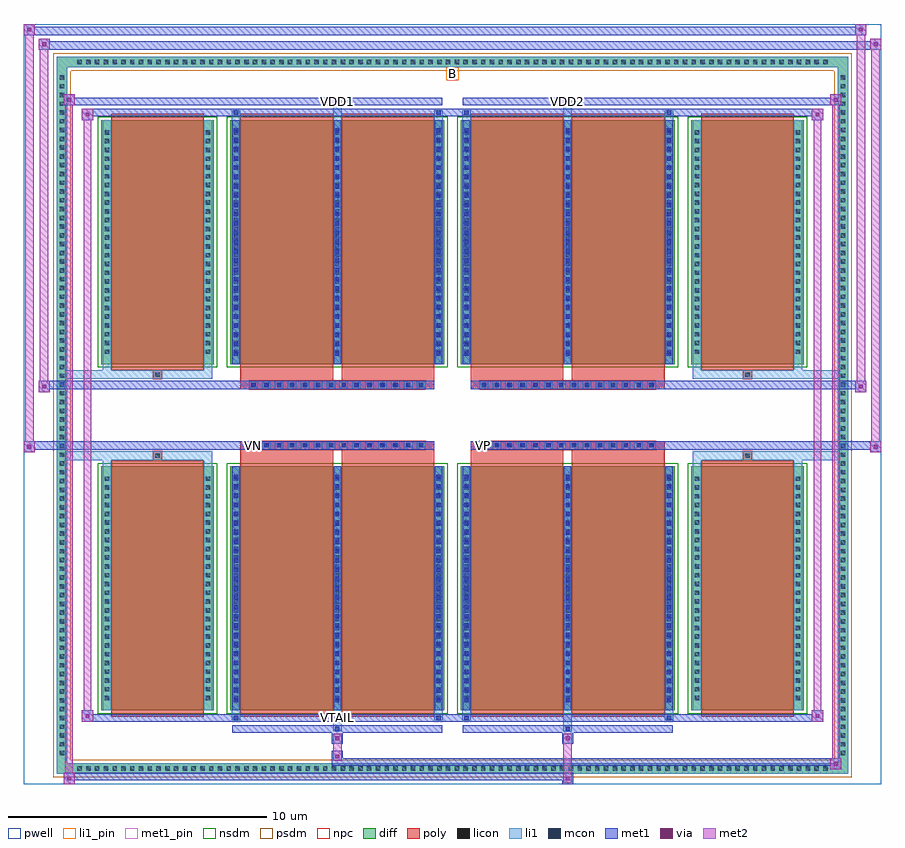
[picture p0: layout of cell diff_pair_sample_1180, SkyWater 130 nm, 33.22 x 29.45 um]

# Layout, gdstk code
import gdstk
lib = gdstk.Library(unit=1e-6, precision=5e-09)
def R(c, l, rs):  # rectangles x0, y0, x1, y1
    for r in rs: c.add(gdstk.rectangle(r[:2], r[2:], *l))
def A(c, l, x, y, w, h, nx, ny, dx, dy):  # array of equal rectangles
    R(c, l, [(x+i*dx, y+j*dy, x+i*dx+w, y+j*dy+h) for i in range(nx) for j in range(ny)])
def P(c, l, *ps):  # polygons
    for p in ps: c.add(gdstk.Polygon(p, *l))
pwell = (64, 44)
diff = (65, 20)
poly = (66, 20)
licon = (66, 44)
li1_pin = (67, 16)
li1 = (67, 20)
mcon = (67, 44)
met1_pin = (68, 16)
met1 = (68, 20)
via = (68, 44)
met2 = (69, 20)
nsdm = (93, 44)
psdm = (94, 20)
npc = (95, 20)

diff_pair_sample_1180 = lib.new_cell('diff_pair_sample_1180')
R(diff_pair_sample_1180, pwell, [(-16.61,-14.29,16.61,15.16), (-13.93,-12.48,-0.01,-0.8), (0.01,-12.48,13.93,-0.8), (-13.93,0.8,-0.01,12.48), (0.01,0.8,13.93,12.48)])
A(diff_pair_sample_1180, diff, -14.655, -13.89, 0.41, 0.41, 86, 2, 0.34, 27.37)
A(diff_pair_sample_1180, diff, -15.34, -13.295, 0.41, 0.41, 1, 78, 0, 0.34)
A(diff_pair_sample_1180, diff, 14.93, -13.295, 0.41, 0.41, 1, 78, 0, 0.34)
R(diff_pair_sample_1180, diff, [(-14.655,-13.89,14.655,-13.48), (-15.34,-13.295,-14.93,13.295), (14.93,-13.295,15.34,13.295), (-13.62,-11.435,-9.25,-1.985), (-8.61,-11.435,-0.32,-1.985), (0.32,-11.435,8.61,-1.985), (9.25,-11.435,13.62,-1.985), (-13.62,1.985,-9.25,11.435), (-8.61,1.985,-0.32,11.435), (0.32,1.985,8.61,11.435), (9.25,1.985,13.62,11.435), (-14.655,13.48,14.655,13.89)])
P(diff_pair_sample_1180, diff, [(15.34,13.89),(-15.34,13.89),(-15.34,-13.48),(-14.93,-13.48),(-14.93,13.48),(14.93,13.48),(14.93,-13.48),(-14.93,-13.48),(-15.34,-13.48),(-15.34,-13.89),(15.34,-13.89)])
A(diff_pair_sample_1180, poly, -7.88, -1.33, 0.33, 0.33, 14, 2, 0.5, 2.33)
A(diff_pair_sample_1180, poly, 1.05, -1.33, 0.33, 0.33, 14, 2, 0.5, 2.33)
R(diff_pair_sample_1180, poly, [(-13.23,-11.685,-9.64,-1.735), (-8.22,-11.685,-4.63,-1.735), (-4.3,-11.685,-0.71,-1.735), (0.71,-11.685,4.3,-1.735), (4.63,-11.685,8.22,-1.735), (9.64,-11.685,13.23,-1.735), (-11.6,-1.735,-11.27,-1.405), (-11.6,-1.735,-11.27,-1.405), (-8.22,-1.735,-4.63,-1.33), (-4.3,-1.735,-0.71,-1.33), (0.71,-1.735,4.3,-1.33), (4.63,-1.735,8.22,-1.33), (11.27,-1.735,11.6,-1.405), (11.27,-1.735,11.6,-1.405), (-8.22,-1.33,-0.71,-1), (0.71,-1.33,8.22,-1), (-8.22,1,-0.71,1.33), (0.71,1,8.22,1.33), (-8.22,1.33,-4.63,1.735), (-4.3,1.33,-0.71,1.735), (0.71,1.33,4.3,1.735), (4.63,1.33,8.22,1.735), (-11.6,1.405,-11.27,1.735), (-11.6,1.405,-11.27,1.735), (11.27,1.405,11.6,1.735), (11.27,1.405,11.6,1.735), (-13.23,1.735,-9.64,11.685), (-8.22,1.735,-4.63,11.685), (-4.3,1.735,-0.71,11.685), (0.71,1.735,4.3,11.685), (4.63,1.735,8.22,11.685), (9.64,1.735,13.23,11.685)])
A(diff_pair_sample_1180, licon, -14.535, -13.77, 0.17, 0.17, 86, 2, 0.34, 27.37)
A(diff_pair_sample_1180, licon, -15.22, -13.175, 0.17, 0.17, 1, 78, 0, 0.34)
A(diff_pair_sample_1180, licon, 15.05, -13.175, 0.17, 0.17, 1, 78, 0, 0.34)
A(diff_pair_sample_1180, licon, -13.48, -11.045, 0.17, 0.17, 1, 26, 0, 0.34)
A(diff_pair_sample_1180, licon, -9.56, -11.045, 0.17, 0.17, 1, 26, 0, 0.34)
A(diff_pair_sample_1180, licon, -8.47, -11.045, 0.17, 0.17, 3, 26, 3.92, 0.34)
A(diff_pair_sample_1180, licon, 0.46, -11.045, 0.17, 0.17, 3, 26, 3.92, 0.34)
A(diff_pair_sample_1180, licon, 9.39, -11.045, 0.17, 0.17, 1, 26, 0, 0.34)
A(diff_pair_sample_1180, licon, 13.31, -11.045, 0.17, 0.17, 1, 26, 0, 0.34)
A(diff_pair_sample_1180, licon, -7.8, -1.25, 0.17, 0.17, 14, 2, 0.5, 2.33)
A(diff_pair_sample_1180, licon, 1.13, -1.25, 0.17, 0.17, 14, 2, 0.5, 2.33)
A(diff_pair_sample_1180, licon, -13.48, 2.375, 0.17, 0.17, 1, 26, 0, 0.34)
A(diff_pair_sample_1180, licon, -9.56, 2.375, 0.17, 0.17, 1, 26, 0, 0.34)
A(diff_pair_sample_1180, licon, -8.47, 2.375, 0.17, 0.17, 3, 26, 3.92, 0.34)
A(diff_pair_sample_1180, licon, 0.46, 2.375, 0.17, 0.17, 3, 26, 3.92, 0.34)
A(diff_pair_sample_1180, licon, 9.39, 2.375, 0.17, 0.17, 1, 26, 0, 0.34)
A(diff_pair_sample_1180, licon, 13.31, 2.375, 0.17, 0.17, 1, 26, 0, 0.34)
R(diff_pair_sample_1180, licon, [(-11.52,-1.655,-11.35,-1.485), (11.35,-1.655,11.52,-1.485), (-11.52,1.485,-11.35,1.655), (11.35,1.485,11.52,1.655)])
R(diff_pair_sample_1180, li1_pin, [(-0.25,12.98,0.25,13.48)])
A(diff_pair_sample_1180, li1, -14.615, -13.85, 0.33, 0.33, 86, 2, 0.34, 27.37)
A(diff_pair_sample_1180, li1, -15.3, -13.255, 0.33, 0.33, 1, 78, 0, 0.34)
A(diff_pair_sample_1180, li1, 14.97, -13.255, 0.33, 0.33, 1, 78, 0, 0.34)
A(diff_pair_sample_1180, li1, -8.55, -11.435, 0.33, 9.45, 3, 2, 3.92, 13.42)
A(diff_pair_sample_1180, li1, 0.38, -11.435, 0.33, 9.45, 3, 2, 3.92, 13.42)
A(diff_pair_sample_1180, li1, -13.56, -11.125, 0.33, 0.33, 1, 26, 0, 0.34)
A(diff_pair_sample_1180, li1, -9.64, -11.125, 0.33, 0.33, 1, 26, 0, 0.34)
A(diff_pair_sample_1180, li1, -8.55, -11.125, 0.33, 0.33, 3, 26, 3.92, 0.34)
A(diff_pair_sample_1180, li1, 0.38, -11.125, 0.33, 0.33, 3, 26, 3.92, 0.34)
A(diff_pair_sample_1180, li1, 9.31, -11.125, 0.33, 0.33, 1, 26, 0, 0.34)
A(diff_pair_sample_1180, li1, 13.23, -11.125, 0.33, 0.33, 1, 26, 0, 0.34)
A(diff_pair_sample_1180, li1, -8.47, -11.115, 0.17, 0.17, 3, 25, 3.92, 0.36)
A(diff_pair_sample_1180, li1, -8.47, -11.115, 0.17, 8.81, 3, 2, 3.92, 13.42)
A(diff_pair_sample_1180, li1, 0.46, -11.115, 0.17, 0.17, 3, 25, 3.92, 0.36)
A(diff_pair_sample_1180, li1, 0.46, -11.115, 0.17, 8.81, 3, 2, 3.92, 13.42)
A(diff_pair_sample_1180, li1, -7.88, -1.33, 0.33, 0.33, 14, 2, 0.5, 2.33)
A(diff_pair_sample_1180, li1, 1.05, -1.33, 0.33, 0.33, 14, 2, 0.5, 2.33)
A(diff_pair_sample_1180, li1, -13.56, 2.295, 0.33, 0.33, 1, 26, 0, 0.34)
A(diff_pair_sample_1180, li1, -9.64, 2.295, 0.33, 0.33, 1, 26, 0, 0.34)
A(diff_pair_sample_1180, li1, -8.55, 2.295, 0.33, 0.33, 3, 26, 3.92, 0.34)
A(diff_pair_sample_1180, li1, 0.38, 2.295, 0.33, 0.33, 3, 26, 3.92, 0.34)
A(diff_pair_sample_1180, li1, 9.31, 2.295, 0.33, 0.33, 1, 26, 0, 0.34)
A(diff_pair_sample_1180, li1, 13.23, 2.295, 0.33, 0.33, 1, 26, 0, 0.34)
A(diff_pair_sample_1180, li1, -8.47, 2.305, 0.17, 0.17, 3, 25, 3.92, 0.36)
A(diff_pair_sample_1180, li1, 0.46, 2.305, 0.17, 0.17, 3, 25, 3.92, 0.36)
R(diff_pair_sample_1180, li1, [(-15.34,-13.89,-14.93,-13.48), (-15.34,-13.89,-14.93,-13.48), (-14.93,-13.89,14.93,-13.48), (14.93,-13.89,15.34,-13.48), (14.93,-13.89,15.34,-13.48), (-15.34,-13.48,-14.93,13.48), (14.93,-13.48,15.34,13.48), (-4.63,-12.24,-4.3,-11.435), (-4.55,-12.24,-4.38,-12.07), (4.3,-12.24,4.63,-11.435), (4.38,-12.24,4.55,-12.07), (-8.55,-11.81,-8.22,-11.435), (-8.47,-11.81,-8.3,-11.64), (-0.71,-11.81,-0.38,-11.435), (-0.63,-11.81,-0.46,-11.64), (0.38,-11.81,0.71,-11.435), (0.46,-11.81,0.63,-11.64), (8.22,-11.81,8.55,-11.435), (8.3,-11.81,8.47,-11.64), (-13.56,-11.435,-13.23,-1.985), (-9.64,-11.435,-9.31,-1.985), (9.31,-11.435,9.64,-1.985), (13.23,-11.435,13.56,-1.985), (-13.56,-1.985,-13.23,-1.405), (-9.64,-1.985,-9.31,-1.405), (9.31,-1.985,9.64,-1.405), (13.23,-1.985,13.56,-1.405), (-15.34,-1.735,-11.6,-1.405), (-13.56,-1.735,-11.6,-1.405), (-11.6,-1.735,-11.27,-1.405), (-11.27,-1.735,-9.31,-1.405), (9.31,-1.735,11.27,-1.405), (11.27,-1.735,11.6,-1.405), (11.27,-1.735,15.34,-1.405), (11.6,-1.735,13.56,-1.405), (-15.34,1.405,-11.6,1.735), (-13.56,1.405,-11.6,1.735), (-13.56,1.405,-13.23,1.985), (-11.6,1.405,-11.27,1.735), (-11.27,1.405,-9.31,1.735), (-9.64,1.405,-9.31,1.985), (9.31,1.405,11.27,1.735), (9.31,1.405,9.64,1.985), (11.27,1.405,11.6,1.735), (11.27,1.405,15.34,1.735), (11.6,1.405,13.56,1.735), (13.23,1.405,13.56,1.985), (-13.56,1.985,-13.23,11.435), (-9.64,1.985,-9.31,11.435), (9.31,1.985,9.64,11.435), (13.23,1.985,13.56,11.435), (-8.55,11.435,-8.22,11.81), (-4.63,11.435,-4.3,12.24), (-0.71,11.435,-0.38,11.81), (0.38,11.435,0.71,11.81), (4.3,11.435,4.63,12.24), (8.22,11.435,8.55,11.81), (-8.47,11.64,-8.3,11.81), (-0.63,11.64,-0.46,11.81), (0.46,11.64,0.63,11.81), (8.3,11.64,8.47,11.81), (-4.55,12.07,-4.38,12.24), (4.38,12.07,4.55,12.24), (-15.34,13.48,-14.93,13.89), (-15.34,13.48,-14.93,13.89), (-14.93,13.48,14.93,13.89), (14.93,13.48,15.34,13.89), (14.93,13.48,15.34,13.89)])
A(diff_pair_sample_1180, mcon, -8.47, -11.115, 0.17, 0.17, 3, 25, 3.92, 0.36)
A(diff_pair_sample_1180, mcon, 0.46, -11.115, 0.17, 0.17, 3, 25, 3.92, 0.36)
A(diff_pair_sample_1180, mcon, -7.8, -1.25, 0.17, 0.17, 14, 2, 0.5, 2.33)
A(diff_pair_sample_1180, mcon, 1.13, -1.25, 0.17, 0.17, 14, 2, 0.5, 2.33)
A(diff_pair_sample_1180, mcon, -8.47, 2.305, 0.17, 0.17, 3, 25, 3.92, 0.36)
A(diff_pair_sample_1180, mcon, 0.46, 2.305, 0.17, 0.17, 3, 25, 3.92, 0.36)
R(diff_pair_sample_1180, mcon, [(-4.55,-12.24,-4.38,-12.07), (4.38,-12.24,4.55,-12.07), (-8.47,-11.81,-8.3,-11.64), (-0.63,-11.81,-0.46,-11.64), (0.46,-11.81,0.63,-11.64), (8.3,-11.81,8.47,-11.64), (-8.47,11.64,-8.3,11.81), (-0.63,11.64,-0.46,11.81), (0.46,11.64,0.63,11.81), (8.3,11.64,8.47,11.81), (-4.55,12.07,-4.38,12.24), (4.38,12.07,4.55,12.24)])
R(diff_pair_sample_1180, met1_pin, [(-4.6,-11.85,-4.33,-11.58), (-7.85,-1.29,-7.58,-1.02), (1.08,-1.29,1.35,-1.02), (-4.6,12.03,-4.33,12.3), (4.33,12.03,4.6,12.3)])
A(diff_pair_sample_1180, met1, -8.53, -11.435, 0.29, 9.45, 3, 2, 3.92, 13.42)
A(diff_pair_sample_1180, met1, 0.4, -11.435, 0.29, 9.45, 3, 2, 3.92, 13.42)
A(diff_pair_sample_1180, met1, -8.53, -11.175, 0.29, 0.29, 3, 25, 3.92, 0.36)
A(diff_pair_sample_1180, met1, 0.4, -11.175, 0.29, 0.29, 3, 25, 3.92, 0.36)
A(diff_pair_sample_1180, met1, -7.86, -1.31, 0.29, 0.29, 14, 2, 0.5, 2.33)
A(diff_pair_sample_1180, met1, 1.07, -1.31, 0.29, 0.29, 14, 2, 0.5, 2.33)
A(diff_pair_sample_1180, met1, -8.53, 2.245, 0.29, 0.29, 3, 25, 3.92, 0.36)
A(diff_pair_sample_1180, met1, 0.4, 2.245, 0.29, 0.29, 3, 25, 3.92, 0.36)
R(diff_pair_sample_1180, met1, [(-15.07,-14.29,-14.64,-13.86), (4.25,-14.29,4.68,-13.86), (-15.07,-14.15,4.68,-13.86), (14.64,-13.72,15.07,-13.29), (-4.68,-13.58,15.07,-13.29), (-4.68,-13.44,-4.25,-13.01), (-4.68,-12.73,-4.25,-12.3), (4.25,-12.73,4.68,-12.3), (-8.53,-12.3,-0.4,-12.01), (-4.61,-12.3,-4.32,-12.01), (0.4,-12.3,8.53,-12.01), (4.32,-12.3,4.61,-12.01), (-14.36,-11.87,-13.93,-11.44), (-14.36,-11.87,-8.53,-11.58), (-8.53,-11.87,-8.24,-11.58), (-8.53,-11.87,-0.4,-11.58), (-0.69,-11.87,-0.4,-11.58), (-0.4,-11.87,0.4,-11.58), (0.4,-11.87,0.69,-11.58), (0.4,-11.87,8.53,-11.58), (8.24,-11.87,8.53,-11.58), (8.53,-11.87,14.36,-11.58), (13.93,-11.87,14.36,-11.44), (-16.61,-1.43,-16.18,-1), (16.18,-1.43,16.61,-1), (-16.61,-1.33,-0.71,-1), (-8.22,-1.33,-0.71,-1), (0.71,-1.33,8.22,-1), (0.71,-1.33,16.61,-1), (-16.04,0.9,-15.61,1.33), (15.61,0.9,16.04,1.33), (-16.04,1,-8.22,1.33), (-8.22,1,-0.71,1.33), (0.71,1,8.22,1.33), (8.22,1,16.04,1.33), (-14.36,11.44,-13.93,11.87), (13.93,11.44,14.36,11.87), (-14.36,11.58,-8.53,11.87), (-8.53,11.58,-8.24,11.87), (-8.53,11.58,-0.4,11.87), (-0.69,11.58,-0.4,11.87), (-0.4,11.58,0.4,11.87), (0.4,11.58,0.69,11.87), (0.4,11.58,8.53,11.87), (8.24,11.58,8.53,11.87), (8.53,11.58,14.36,11.87), (-15.07,12.01,-14.64,12.44), (-15.07,12.01,-8.53,12.3), (-8.53,12.01,-0.4,12.3), (-4.61,12.01,-4.32,12.3), (0.4,12.01,8.53,12.3), (4.32,12.01,4.61,12.3), (8.53,12.01,15.07,12.3), (14.64,12.01,15.07,12.44), (-16.04,14.16,-15.61,14.59), (-16.04,14.16,-13.93,14.49), (-13.93,14.16,13.93,14.49), (13.93,14.16,16.61,14.49), (16.18,14.16,16.61,14.59), (-16.61,14.73,-16.18,15.16), (-16.61,14.73,-13.93,15.06), (-13.93,14.73,13.93,15.06), (13.93,14.73,16.04,15.06), (15.61,14.73,16.04,15.16)])
R(diff_pair_sample_1180, via, [(-14.93,-14.15,-14.78,-14), (4.39,-14.15,4.54,-14), (14.78,-13.58,14.93,-13.43), (-4.54,-13.3,-4.39,-13.15), (-4.54,-12.59,-4.39,-12.44), (4.39,-12.59,4.54,-12.44), (-14.22,-11.73,-14.07,-11.58), (14.07,-11.73,14.22,-11.58), (-16.47,-1.29,-16.32,-1.14), (16.32,-1.29,16.47,-1.14), (-15.9,1.04,-15.75,1.19), (15.75,1.04,15.9,1.19), (-14.22,11.58,-14.07,11.73), (14.07,11.58,14.22,11.73), (-14.93,12.15,-14.78,12.3), (14.78,12.15,14.93,12.3), (-15.9,14.3,-15.75,14.45), (16.32,14.3,16.47,14.45), (-16.47,14.87,-16.32,15.02), (15.75,14.87,15.9,15.02)])
R(diff_pair_sample_1180, met2, [(-15.07,-14.29,-14.64,-13.86), (-15,-14.29,-14.71,12.44), (-14.71,-14.29,-14.64,-13.86), (-15.02,-14.24,-14.69,-13.91), (4.3,-14.24,4.63,-13.91), (4.3,-13.91,4.63,-12.68), (14.64,-13.72,15.07,-13.29), (14.71,-13.72,15,12.44), (15,-13.72,15.07,-13.29), (14.69,-13.67,15.02,-13.34), (-4.63,-13.39,-4.3,-13.06), (-4.63,-13.06,-4.3,-12.68), (-4.63,-12.68,-4.3,-12.35), (4.3,-12.68,4.63,-12.35), (-14.36,-11.87,-13.93,-11.44), (-14.29,-11.87,-14,11.87), (-14,-11.87,-13.93,-11.44), (13.93,-11.87,14.36,-11.44), (14,-11.87,14.29,11.87), (14.29,-11.87,14.36,-11.44), (-14.31,-11.82,-13.98,-11.49), (13.98,-11.82,14.31,-11.49), (-16.61,-1.43,-16.18,-1), (-16.56,-1.43,-16.23,15.16), (-16.23,-1.43,-16.18,-1), (16.18,-1.43,16.61,-1), (16.23,-1.43,16.56,14.59), (16.56,-1.43,16.61,-1), (-16.56,-1.38,-16.23,-1.05), (16.23,-1.38,16.56,-1.05), (-16.04,0.9,-15.61,1.33), (-15.99,0.9,-15.66,14.59), (-15.66,0.9,-15.61,1.33), (15.61,0.9,16.04,1.33), (15.66,0.9,15.99,15.16), (15.99,0.9,16.04,1.33), (-15.99,0.95,-15.66,1.28), (15.66,0.95,15.99,1.28), (-14.36,11.44,-13.93,11.87), (-14,11.44,-13.93,11.87), (13.93,11.44,14.36,11.87), (14.29,11.44,14.36,11.87), (-14.31,11.49,-13.98,11.82), (13.98,11.49,14.31,11.82), (-15.07,12.01,-14.64,12.44), (-14.71,12.01,-14.64,12.44), (14.64,12.01,15.07,12.44), (15,12.01,15.07,12.44), (-15.02,12.06,-14.69,12.39), (14.69,12.06,15.02,12.39), (-16.04,14.16,-15.61,14.59), (-15.66,14.16,-15.61,14.59), (16.18,14.16,16.61,14.59), (16.56,14.16,16.61,14.59), (-15.99,14.21,-15.66,14.54), (16.23,14.21,16.56,14.54), (-16.61,14.73,-16.18,15.16), (-16.23,14.73,-16.18,15.16), (15.61,14.73,16.04,15.16), (15.99,14.73,16.04,15.16), (-16.56,14.78,-16.23,15.11), (15.66,14.78,15.99,15.11)])
R(diff_pair_sample_1180, nsdm, [(-13.75,-11.565,-9.12,-1.855), (-8.74,-11.565,-0.19,-1.855), (0.19,-11.565,8.74,-1.855), (9.12,-11.565,13.75,-1.855), (-13.75,1.855,-9.12,11.565), (-8.74,1.855,-0.19,11.565), (0.19,1.855,8.74,11.565), (9.12,1.855,13.75,11.565)])
P(diff_pair_sample_1180, psdm, [(15.47,14.02),(-15.47,14.02),(-15.47,-13.35),(-14.8,-13.35),(-14.8,13.35),(14.8,13.35),(14.8,-13.35),(-14.8,-13.35),(-15.47,-13.35),(-15.47,-14.02),(15.47,-14.02)])
A(diff_pair_sample_1180, npc, -7.9, -1.35, 0.37, 0.37, 14, 2, 0.5, 2.33)
A(diff_pair_sample_1180, npc, 1.03, -1.35, 0.37, 0.37, 14, 2, 0.5, 2.33)
R(diff_pair_sample_1180, npc, [(-11.62,-1.755,-11.25,-1.385), (11.25,-1.755,11.62,-1.385), (-7.9,-1.35,-7.03,-0.98), (-7.9,-1.35,-7.03,-0.98), (-7.4,-1.35,-6.53,-0.98), (-7.4,-1.35,-6.53,-0.98), (-6.9,-1.35,-6.03,-0.98), (-6.9,-1.35,-6.03,-0.98), (-6.4,-1.35,-5.53,-0.98), (-6.4,-1.35,-5.53,-0.98), (-5.9,-1.35,-5.03,-0.98), (-5.9,-1.35,-5.03,-0.98), (-5.4,-1.35,-4.53,-0.98), (-5.4,-1.35,-4.53,-0.98), (-4.9,-1.35,-4.03,-0.98), (-4.9,-1.35,-4.03,-0.98), (-4.4,-1.35,-3.53,-0.98), (-4.4,-1.35,-3.53,-0.98), (-3.9,-1.35,-3.03,-0.98), (-3.9,-1.35,-3.03,-0.98), (-3.4,-1.35,-2.53,-0.98), (-3.4,-1.35,-2.53,-0.98), (-2.9,-1.35,-2.03,-0.98), (-2.9,-1.35,-2.03,-0.98), (-2.4,-1.35,-1.53,-0.98), (-2.4,-1.35,-1.53,-0.98), (-1.9,-1.35,-1.03,-0.98), (-1.9,-1.35,-1.03,-0.98), (1.03,-1.35,1.9,-0.98), (1.03,-1.35,1.9,-0.98), (1.53,-1.35,2.4,-0.98), (1.53,-1.35,2.4,-0.98), (2.03,-1.35,2.9,-0.98), (2.03,-1.35,2.9,-0.98), (2.53,-1.35,3.4,-0.98), (2.53,-1.35,3.4,-0.98), (3.03,-1.35,3.9,-0.98), (3.03,-1.35,3.9,-0.98), (3.53,-1.35,4.4,-0.98), (3.53,-1.35,4.4,-0.98), (4.03,-1.35,4.9,-0.98), (4.03,-1.35,4.9,-0.98), (4.53,-1.35,5.4,-0.98), (4.53,-1.35,5.4,-0.98), (5.03,-1.35,5.9,-0.98), (5.03,-1.35,5.9,-0.98), (5.53,-1.35,6.4,-0.98), (5.53,-1.35,6.4,-0.98), (6.03,-1.35,6.9,-0.98), (6.03,-1.35,6.9,-0.98), (6.53,-1.35,7.4,-0.98), (6.53,-1.35,7.4,-0.98), (7.03,-1.35,7.9,-0.98), (7.03,-1.35,7.9,-0.98), (-7.9,0.98,-7.03,1.35), (-7.9,0.98,-7.03,1.35), (-7.4,0.98,-6.53,1.35), (-7.4,0.98,-6.53,1.35), (-6.9,0.98,-6.03,1.35), (-6.9,0.98,-6.03,1.35), (-6.4,0.98,-5.53,1.35), (-6.4,0.98,-5.53,1.35), (-5.9,0.98,-5.03,1.35), (-5.9,0.98,-5.03,1.35), (-5.4,0.98,-4.53,1.35), (-5.4,0.98,-4.53,1.35), (-4.9,0.98,-4.03,1.35), (-4.9,0.98,-4.03,1.35), (-4.4,0.98,-3.53,1.35), (-4.4,0.98,-3.53,1.35), (-3.9,0.98,-3.03,1.35), (-3.9,0.98,-3.03,1.35), (-3.4,0.98,-2.53,1.35), (-3.4,0.98,-2.53,1.35), (-2.9,0.98,-2.03,1.35), (-2.9,0.98,-2.03,1.35), (-2.4,0.98,-1.53,1.35), (-2.4,0.98,-1.53,1.35), (-1.9,0.98,-1.03,1.35), (-1.9,0.98,-1.03,1.35), (1.03,0.98,1.9,1.35), (1.03,0.98,1.9,1.35), (1.53,0.98,2.4,1.35), (1.53,0.98,2.4,1.35), (2.03,0.98,2.9,1.35), (2.03,0.98,2.9,1.35), (2.53,0.98,3.4,1.35), (2.53,0.98,3.4,1.35), (3.03,0.98,3.9,1.35), (3.03,0.98,3.9,1.35), (3.53,0.98,4.4,1.35), (3.53,0.98,4.4,1.35), (4.03,0.98,4.9,1.35), (4.03,0.98,4.9,1.35), (4.53,0.98,5.4,1.35), (4.53,0.98,5.4,1.35), (5.03,0.98,5.9,1.35), (5.03,0.98,5.9,1.35), (5.53,0.98,6.4,1.35), (5.53,0.98,6.4,1.35), (6.03,0.98,6.9,1.35), (6.03,0.98,6.9,1.35), (6.53,0.98,7.4,1.35), (6.53,0.98,7.4,1.35), (7.03,0.98,7.9,1.35), (7.03,0.98,7.9,1.35), (-11.62,1.385,-11.25,1.755), (11.25,1.385,11.62,1.755)])
diff_pair_sample_1180.add(gdstk.Label('VTAIL', (-4.465,-11.715), layer=68, texttype=5))
diff_pair_sample_1180.add(gdstk.Label('VN', (-7.715,-1.155), layer=68, texttype=5))
diff_pair_sample_1180.add(gdstk.Label('VP', (1.215,-1.155), layer=68, texttype=5))
diff_pair_sample_1180.add(gdstk.Label('B', (0,13.23), layer=67, texttype=5))
diff_pair_sample_1180.add(gdstk.Label('VDD2', (4.465,12.165), layer=68, texttype=5))
diff_pair_sample_1180.add(gdstk.Label('VDD1', (-4.465,12.165), layer=68, texttype=5))

lib.write_gds('diff_pair_sample_1180.gds')
